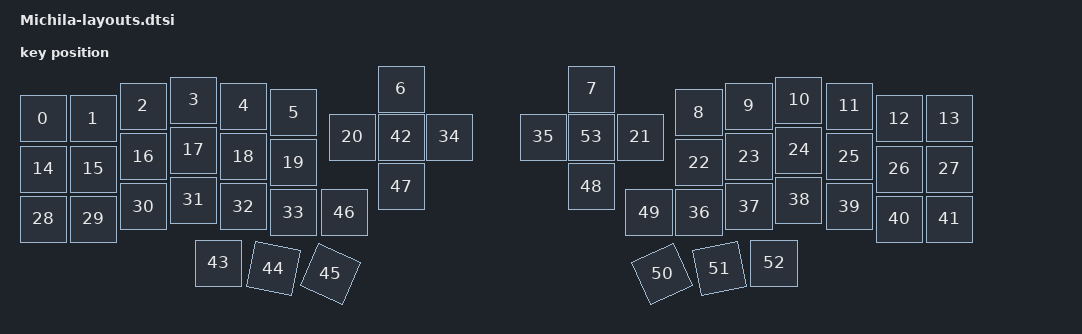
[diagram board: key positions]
#include <physical_layouts.dtsi>

/ {
    physical_layout: physical_layout_0 {
        compatible = "zmk,physical-layout";
        display-name = "Michila";

        // kscan = <&kscan0>;
        // transform = <&matrix_transform0>;

        studio-config {
        compatible = "zmk,studio-config";
        };

        keys  //                     w   h    x    y     rot    rx    ry
            = <&key_physical_attrs 100 100    0   59       0     0     0>
            , <&key_physical_attrs 100 100  100   59       0     0     0>
            , <&key_physical_attrs 100 100  200   34       0     0     0>
            , <&key_physical_attrs 100 100  301   22       0     0     0>
            , <&key_physical_attrs 100 100  401   34       0     0     0>
            , <&key_physical_attrs 100 100  501   47       0     0     0>
            , <&key_physical_attrs 100 100  716    0       0     0     0>
            , <&key_physical_attrs 100 100 1097    0       0     0     0>
            , <&key_physical_attrs 100 100 1312   47       0     0     0>
            , <&key_physical_attrs 100 100 1412   34       0     0     0>
            , <&key_physical_attrs 100 100 1512   22       0     0     0>
            , <&key_physical_attrs 100 100 1613   34       0     0     0>
            , <&key_physical_attrs 100 100 1713   59       0     0     0>
            , <&key_physical_attrs 100 100 1813   59       0     0     0>
            , <&key_physical_attrs 100 100    0  160       0     0     0>
            , <&key_physical_attrs 100 100  100  160       0     0     0>
            , <&key_physical_attrs 100 100  200  135       0     0     0>
            , <&key_physical_attrs 100 100  301  122       0     0     0>
            , <&key_physical_attrs 100 100  401  135       0     0     0>
            , <&key_physical_attrs 100 100  501  147       0     0     0>
            , <&key_physical_attrs 100 100  618   96       0     0     0>
            , <&key_physical_attrs 100 100 1195   96       0     0     0>
            , <&key_physical_attrs 100 100 1312  147       0     0     0>
            , <&key_physical_attrs 100 100 1412  135       0     0     0>
            , <&key_physical_attrs 100 100 1512  122       0     0     0>
            , <&key_physical_attrs 100 100 1613  135       0     0     0>
            , <&key_physical_attrs 100 100 1713  160       0     0     0>
            , <&key_physical_attrs 100 100 1813  160       0     0     0>
            , <&key_physical_attrs 100 100    0  260       0     0     0>
            , <&key_physical_attrs 100 100  100  260       0     0     0>
            , <&key_physical_attrs 100 100  200  235       0     0     0>
            , <&key_physical_attrs 100 100  301  222       0     0     0>
            , <&key_physical_attrs 100 100  401  235       0     0     0>
            , <&key_physical_attrs 100 100  501  247       0     0     0>
            , <&key_physical_attrs 100 100  813   96       0     0     0>
            , <&key_physical_attrs 100 100 1000   96       0     0     0>
            , <&key_physical_attrs 100 100 1312  247       0     0     0>
            , <&key_physical_attrs 100 100 1412  235       0     0     0>
            , <&key_physical_attrs 100 100 1512  222       0     0     0>
            , <&key_physical_attrs 100 100 1613  235       0     0     0>
            , <&key_physical_attrs 100 100 1713  260       0     0     0>
            , <&key_physical_attrs 100 100 1813  260       0     0     0>
            , <&key_physical_attrs 100 100  716   96       0     0     0>
            , <&key_physical_attrs 100 100  351  348       0     0     0>
            , <&key_physical_attrs 100 100  461  359    1194   511   409>
            , <&key_physical_attrs 100 100  575  370    2388   625   420>
            , <&key_physical_attrs 100 100  602  247       0     0     0>
            , <&key_physical_attrs 100 100  717  195       0     0     0>
            , <&key_physical_attrs 100 100 1096  195       0     0     0>
            , <&key_physical_attrs 100 100 1212  247       0     0     0>
            , <&key_physical_attrs 100 100 1238  370 (-2388)  1288   420>
            , <&key_physical_attrs 100 100 1353  359 (-1194)  1403   409>
            , <&key_physical_attrs 100 100 1462  348       0     0     0>
            , <&key_physical_attrs 100 100 1097   96       0     0     0>
            ;
    };
};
